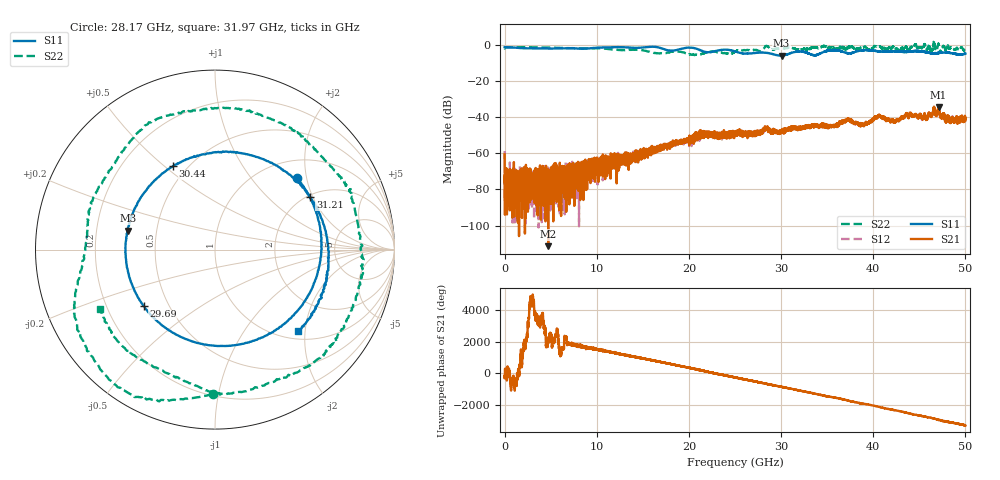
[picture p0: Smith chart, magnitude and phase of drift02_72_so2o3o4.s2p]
!Created with skrf (http://scikit-rf.org).
# Hz S RI R 50.0
!freq ReS11 ImS11 ReS21 ImS21 ReS12 ImS12 ReS22 ImS22
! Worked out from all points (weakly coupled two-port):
!   10001 points, 300 kHz to 50 GHz, reference 50 ohm
!   highest |S21| = -34.36 dB at 47.09 GHz (marker M1); lowest = -111.4 dB at 4.73 GHz (marker M2)
!   lowest |S11| = -6.1 dB at 30.06 GHz (marker M3), VSWR 2.97, Z = 17 + j4.73 ohm
!   |S11| at or under -10 dB: nowhere
!   |S22| runs from -5.7 to 2.4 dB; largest |S21 - S12| = 0.0032
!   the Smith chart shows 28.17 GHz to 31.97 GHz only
!   S11 on the Smith chart (normalised r, x): 28.17 GHz: 1.38, +1.75; 29.69 GHz: 0.36, -0.31; 30.44 GHz: 0.42, +0.53; 31.21 GHz: 2.08, +1.92; 31.97 GHz: 1.18, -1.84
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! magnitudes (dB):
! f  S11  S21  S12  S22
! 300 kHz  -1.3  -60.6  -58.8  -2.1
! 265.3 MHz  -1.4  -83.0  -85.5  -1.4
! 4.73 GHz  -2.1  -111.4  -68.3  -1.6
! 8.335 GHz  -2.2  -69.1  -67.4  -1.9
! 16.67 GHz  -1.5  -57.6  -57.2  -4.7
! 21.51 GHz  -3.5  -49.2  -49.9  -4.7
! 25 GHz  -3.7  -49.0  -48.6  -3.9
! 28.17 GHz  -4.4  -47.4  -47.2  -1.9
! 29.69 GHz  -5.9  -48.6  -47.9  -2.1
! 30.06 GHz  -6.1  -48.0  -48.7  -2.0
! 30.44 GHz  -5.7  -47.8  -47.3  -1.8
! 31.21 GHz  -4.3  -46.6  -46.0  -1.7
! 31.97 GHz  -3.8  -45.8  -45.9  -2.8
! 33.34 GHz  -5.5  -45.1  -44.9  -1.6
! 35.59 GHz  -3.0  -45.3  -44.9  -1.6
! 37.3 GHz  -4.7  -41.7  -42.0  -1.4
! 38.85 GHz  -3.0  -44.3  -44.3  -1.3
! 40.7 GHz  -3.7  -39.5  -39.4  -0.9
! 41.67 GHz  -3.6  -41.5  -41.1  -1.9
! 47.09 GHz  -4.5  -34.4  -35.0  0.4
! 48.12 GHz  -4.4  -40.3  -40.3  -0.5
! 50 GHz  -4.9  -41.3  -40.9  -2.8
